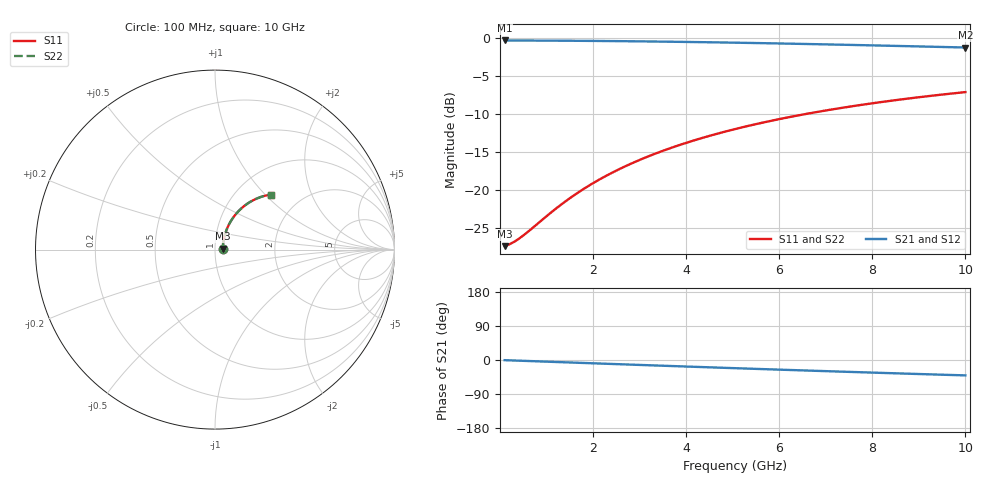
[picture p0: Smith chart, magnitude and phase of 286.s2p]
# Hz S RI R 50.00
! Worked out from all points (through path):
!   100 points, 100 MHz to 10 GHz, reference 50 ohm
!   highest |S21| = -0.38 dB at 100 MHz (marker M1); lowest = -1.3 dB at 10 GHz (marker M2)
!   group delay of S21, straight-line fit = 11.3 ps
!   lowest |S11| = -27.4 dB at 100 MHz (marker M3), VSWR 1.09, Z = 54.4 + j0.524 ohm
!   |S11| at or under -10 dB: start of sweep to 6.602 GHz
!   |S22| runs from -27.4 to -7.2 dB; largest |S21 - S12| = 0
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1e8  0.0424 0.0048  0.9576 -0.0073  0.9576 -0.0073  0.0424 0.0048
2e8  0.0428 0.0096  0.9572 -0.0146  0.9572 -0.0146  0.0428 0.0096
4e8  0.0436 0.0192  0.9564 -0.0292  0.9564 -0.0292  0.0436 0.0192
6e8  0.0446 0.0287  0.9553 -0.0437  0.9553 -0.0437  0.0446 0.0287
1e9  0.0473 0.0476  0.9524 -0.0726  0.9524 -0.0726  0.0473 0.0476
1.3e9  0.05 0.0617  0.9494 -0.0942  0.9494 -0.0942  0.05 0.0617
1.5e9  0.0522 0.071  0.9471 -0.1085  0.9471 -0.1085  0.0522 0.071
1.8e9  0.0559 0.0847  0.943 -0.1297  0.943 -0.1297  0.0559 0.0847
2.1e9  0.0602 0.0983  0.9383 -0.1508  0.9383 -0.1508  0.0602 0.0983
2.5e9  0.0669 0.1159  0.9311 -0.1785  0.9311 -0.1785  0.0669 0.1159
2.9e9  0.0745 0.1331  0.9227 -0.2056  0.9227 -0.2056  0.0745 0.1331
3.4e9  0.0854 0.1537  0.9108 -0.2388  0.9108 -0.2388  0.0854 0.1537
3.8e9  0.0952 0.1694  0.9001 -0.2646  0.9001 -0.2646  0.0952 0.1694
4.2e9  0.1058 0.1845  0.8885 -0.2897  0.8885 -0.2897  0.1058 0.1845
4.6e9  0.1171 0.1988  0.876 -0.3141  0.876 -0.3141  0.1171 0.1988
5.1e9  0.1323 0.2155  0.8593 -0.3434  0.8593 -0.3434  0.1323 0.2155
5.9e9  0.1585 0.2395  0.8301 -0.3877  0.8301 -0.3877  0.1585 0.2395
6.7e9  0.1868 0.26  0.7985 -0.4286  0.7985 -0.4286  0.1868 0.26
7.5e9  0.2165 0.2769  0.765 -0.4659  0.765 -0.4659  0.2165 0.2769
8.4e9  0.251 0.2916  0.7257 -0.5037  0.7257 -0.5037  0.251 0.2916
9.2e9  0.2821 0.3009  0.6897 -0.5337  0.6897 -0.5337  0.2821 0.3009
1e10  0.3133 0.3069  0.6532 -0.5603  0.6532 -0.5603  0.3133 0.3069
